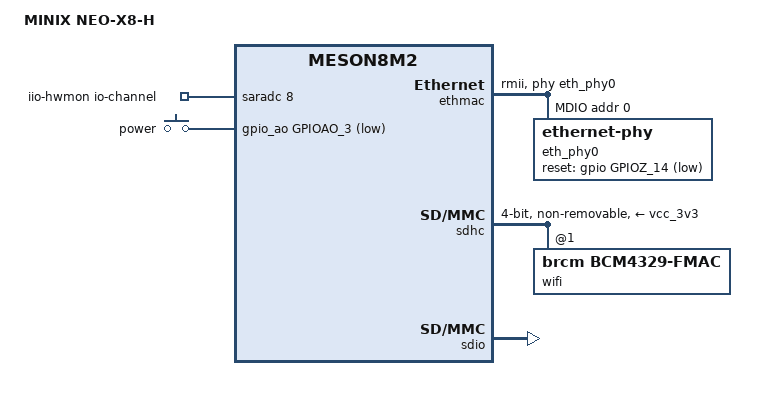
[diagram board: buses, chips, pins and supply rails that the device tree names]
// SPDX-License-Identifier: (GPL-2.0+ OR MIT)
/*
 * Device tree for the MINIX NEO X8-H, a Tronsmart MXIII variant.
 */

/dts-v1/;

#include "meson8-mxiii.dtsi"

/ {
	model = "MINIX NEO-X8-H";
	compatible = "tronsmart,mxiii", "amlogic,meson8m2";

	iio-hwmon {
		compatible = "iio-hwmon";
		io-channels = <&saradc 8>;
	};

	gpio-keys-polled {
		compatible = "gpio-keys-polled";
		poll-interval = <100>;

		button-power {
			label = "power";
			linux,code = <KEY_POWER>;
			gpios = <&gpio_ao GPIOAO_3 GPIO_ACTIVE_LOW>;
		};
	};
};

&ethmac {
	status = "okay";

	pinctrl-0 = <&eth_pins>;
	pinctrl-names = "default";

	phy-handle = <&eth_phy0>;
	phy-mode = "rmii";

	mdio {
		compatible = "snps,dwmac-mdio";
		#address-cells = <1>;
		#size-cells = <0>;

		eth_phy0: ethernet-phy@0 {
			/* IC Plus IP101A/G (0x02430c54) */
			reg = <0>;
			icplus,select-interrupt;
			interrupt-parent = <&gpio_intc>;
			/* GPIODV_29 = 94 and GPIOZ_4 are not working */
			/* interrupts = <94 IRQ_TYPE_LEVEL_LOW>; */

			reset-assert-us = <10000>;
			reset-deassert-us = <10000>;
			reset-gpios = <&gpio GPIOZ_14 GPIO_ACTIVE_LOW>;
		};
	};
};

/* SDIO wifi */
&sdhc {
	status = "okay";

	pinctrl-0 = <&sdxc_a_pins>;
	pinctrl-names = "default";

	#address-cells = <1>;
	#size-cells = <0>;

	bus-width = <4>;
	max-frequency = <25000000>;

	disable-wp;
	non-removable;
	no-mmc;
	no-sd;
	cap-sd-highspeed;
	keep-power-in-suspend;

	mmc-pwrseq = <&sdio_pwrseq>;

	vmmc-supply = <&vcc_3v3>;
	vqmmc-supply = <&vcc_3v3>;

	wifi@1 {
		compatible = "brcm,bcm4329-fmac";
		reg = <1>;

		/*
		 * Out-of-band host-wake. Requires the irq-meson-gpio
		 * IRQCHIP_SKIP_SET_WAKE patch, otherwise brcmfmac's
		 * enable_irq_wake() fails with -6.
		 */
		interrupt-parent = <&gpio_intc>;
		interrupts = <GPIOX_21 IRQ_TYPE_LEVEL_HIGH>;
		interrupt-names = "host-wake";
	};
};

/* SD card */
&sdio {
	status = "okay";

	pinctrl-0 = <&sd_b_pins>;
	pinctrl-names = "default";

	slot@0 {
		compatible = "mmc-slot";
		reg = <1>;

		bus-width = <4>;
		max-frequency = <50000000>;

		no-mmc;
		no-sdio;
		cap-sd-highspeed;
		disable-wp;

		cd-gpios = <&gpio CARD_6 GPIO_ACTIVE_LOW>;

		vmmc-supply = <&vcc_3v3>;
	};
};
